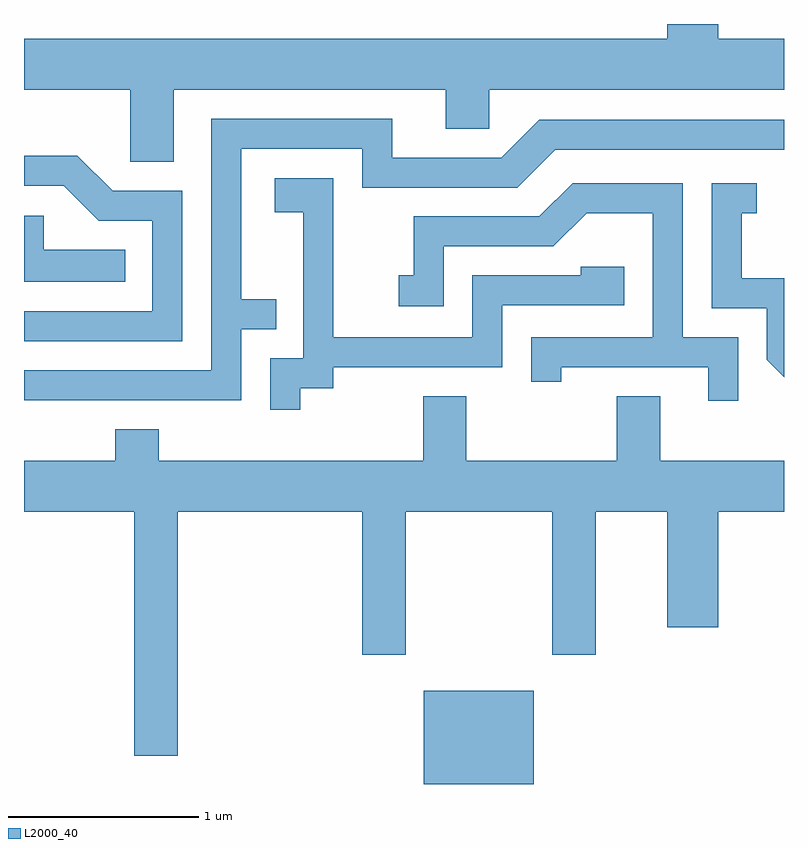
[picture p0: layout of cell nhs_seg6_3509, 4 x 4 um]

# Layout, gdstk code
import gdstk
lib = gdstk.Library(unit=1e-6, precision=1e-09)
def R(c, l, rs):  # rectangles x0, y0, x1, y1
    for r in rs: c.add(gdstk.rectangle(r[:2], r[2:], *l))
def P(c, l, *ps):  # polygons
    for p in ps: c.add(gdstk.Polygon(p, *l))
L2000_40 = (2000, 40)

nhs_seg6_3509 = lib.new_cell('nhs_seg6_3509')
R(nhs_seg6_3509, L2000_40, [(293.716,1544.162,294.294,1544.654)])
P(nhs_seg6_3509, L2000_40, [(292.399,1547.816),(293.831,1547.816),(293.831,1547.611),(294.059,1547.611),(294.059,1547.816),(295.611,1547.816),(295.611,1548.084),(295.264,1548.084),(295.264,1548.162),(294.996,1548.162),(294.996,1548.084),(291.611,1548.084),(291.611,1547.816),(292.171,1547.816),(292.171,1547.436),(292.399,1547.436)],
  [(292.754,1546.556),(292.938,1546.556),(292.938,1546.714),(292.754,1546.714),(292.754,1547.506),(293.391,1547.506),(293.391,1547.301),(294.207,1547.301),(294.407,1547.501),(295.611,1547.501),(295.611,1547.659),(294.324,1547.659),(294.124,1547.459),(293.549,1547.459),(293.549,1547.664),(292.596,1547.664),(292.596,1546.339),(291.611,1546.339),(291.611,1546.181),(292.754,1546.181)],
  [(292.444,1547.284),(292.077,1547.284),(291.892,1547.469),(291.611,1547.469),(291.611,1547.311),(291.819,1547.311),(292.004,1547.126),(292.286,1547.126),(292.286,1546.649),(291.611,1546.649),(291.611,1546.491),(292.444,1546.491)],
  [(293.064,1546.246),(293.239,1546.246),(293.239,1546.356),(294.129,1546.356),(294.129,1546.681),(294.769,1546.681),(294.769,1546.884),(294.541,1546.884),(294.541,1546.839),(293.971,1546.839),(293.971,1546.514),(293.239,1546.514),(293.239,1547.349),(292.931,1547.349),(292.931,1547.171),(293.081,1547.171),(293.081,1546.404),(292.906,1546.404),(292.906,1546.133),(293.064,1546.133)],
  [(295.369,1546.514),(295.079,1546.514),(295.079,1547.324),(294.499,1547.324),(294.324,1547.149),(293.661,1547.149),(293.661,1546.839),(293.583,1546.839),(293.583,1546.676),(293.819,1546.676),(293.819,1546.991),(294.397,1546.991),(294.572,1547.166),(294.921,1547.166),(294.921,1546.514),(294.281,1546.514),(294.281,1546.278),(294.439,1546.278),(294.439,1546.356),(295.211,1546.356),(295.211,1546.178),(295.369,1546.178)],
  [(295.611,1546.824),(295.389,1546.824),(295.389,1547.166),(295.468,1547.166),(295.468,1547.324),(295.231,1547.324),(295.231,1546.666),(295.521,1546.666),(295.521,1546.394),(295.611,1546.304)],
  [(292.143,1546.974),(291.714,1546.974),(291.714,1547.154),(291.611,1547.154),(291.611,1546.806),(292.143,1546.806)],
  [(292.419,1545.596),(293.391,1545.596),(293.391,1544.841),(293.619,1544.841),(293.619,1545.596),(294.391,1545.596),(294.391,1544.841),(294.619,1544.841),(294.619,1545.596),(294.996,1545.596),(294.996,1544.986),(295.264,1544.986),(295.264,1545.596),(295.611,1545.596),(295.611,1545.864),(294.959,1545.864),(294.959,1546.204),(294.731,1546.204),(294.731,1545.864),(293.939,1545.864),(293.939,1546.204),(293.711,1546.204),(293.711,1545.864),(292.319,1545.864),(292.319,1546.029),(292.091,1546.029),(292.091,1545.864),(291.611,1545.864),(291.611,1545.596),(292.191,1545.596),(292.191,1544.311),(292.419,1544.311)])

lib.write_gds('nhs_seg6_3509.gds')
